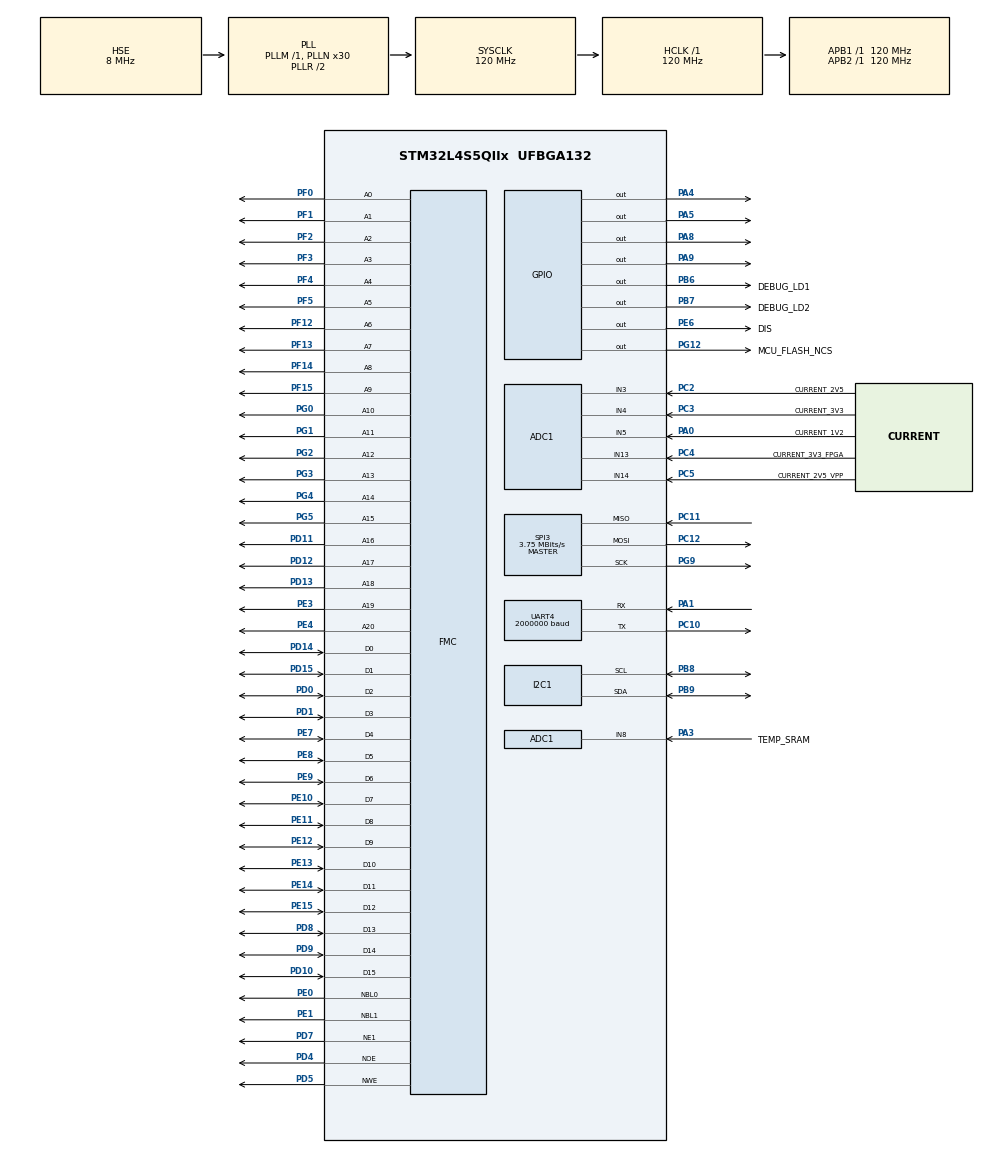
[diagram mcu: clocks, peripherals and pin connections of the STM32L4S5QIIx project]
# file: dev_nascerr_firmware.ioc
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ADC1.Channel-0\#ChannelRegularConversion=ADC_CHANNEL_5
ADC1.Channel-1\#ChannelRegularConversion=ADC_CHANNEL_3
ADC1.Channel-2\#ChannelRegularConversion=ADC_CHANNEL_14
ADC1.Channel-3\#ChannelRegularConversion=ADC_CHANNEL_4
ADC1.Channel-4\#ChannelRegularConversion=ADC_CHANNEL_13
ADC1.Channel-5\#ChannelRegularConversion=ADC_CHANNEL_8
ADC1.DMAContinuousRequests=ENABLE
ADC1.ExternalTrigConv=ADC_EXTERNALTRIG_T2_TRGO
ADC1.NbrOfConversion=6
ADC1.NbrOfConversionFlag=1
ADC1.OffsetNumber-0\#ChannelRegularConversion=ADC_OFFSET_NONE
ADC1.OffsetNumber-1\#ChannelRegularConversion=ADC_OFFSET_NONE
ADC1.OffsetNumber-2\#ChannelRegularConversion=ADC_OFFSET_NONE
ADC1.OffsetNumber-3\#ChannelRegularConversion=ADC_OFFSET_NONE
ADC1.OffsetNumber-4\#ChannelRegularConversion=ADC_OFFSET_NONE
ADC1.OffsetNumber-5\#ChannelRegularConversion=ADC_OFFSET_NONE
ADC1.Rank-0\#ChannelRegularConversion=1
ADC1.Rank-1\#ChannelRegularConversion=2
ADC1.Rank-2\#ChannelRegularConversion=3
ADC1.Rank-3\#ChannelRegularConversion=4
ADC1.Rank-4\#ChannelRegularConversion=5
ADC1.Rank-5\#ChannelRegularConversion=6
ADC1.SamplingTime-0\#ChannelRegularConversion=ADC_SAMPLETIME_47CYCLES_5
ADC1.SamplingTime-1\#ChannelRegularConversion=ADC_SAMPLETIME_47CYCLES_5
ADC1.SamplingTime-2\#ChannelRegularConversion=ADC_SAMPLETIME_47CYCLES_5
ADC1.SamplingTime-3\#ChannelRegularConversion=ADC_SAMPLETIME_47CYCLES_5
ADC1.SamplingTime-4\#ChannelRegularConversion=ADC_SAMPLETIME_47CYCLES_5
ADC1.SamplingTime-5\#ChannelRegularConversion=ADC_SAMPLETIME_47CYCLES_5
ADC1.master=1
Dma.ADC1.2.Direction=DMA_PERIPH_TO_MEMORY
Dma.ADC1.2.EventEnable=DISABLE
Dma.ADC1.2.Instance=DMA1_Channel3
Dma.ADC1.2.MemDataAlignment=DMA_MDATAALIGN_WORD
Dma.ADC1.2.MemInc=DMA_MINC_ENABLE
Dma.ADC1.2.Mode=DMA_CIRCULAR
Dma.ADC1.2.PeriphDataAlignment=DMA_PDATAALIGN_WORD
Dma.ADC1.2.PeriphInc=DMA_PINC_DISABLE
Dma.ADC1.2.Polarity=HAL_DMAMUX_REQUEST_GEN_RISING
Dma.ADC1.2.Priority=DMA_PRIORITY_LOW
Dma.ADC1.2.RequestNumber=1
Dma.ADC1.2.SignalID=NONE
Dma.ADC1.2.SyncEnable=DISABLE
Dma.ADC1.2.SyncPolarity=HAL_DMAMUX_SYNC_NO_EVENT
Dma.ADC1.2.SyncRequestNumber=1
Dma.ADC1.2.SyncSignalID=NONE
Dma.Request0=SPI3_RX
Dma.Request1=SPI3_TX
Dma.Request2=ADC1
Dma.Request3=UART4_RX
Dma.SPI3_RX.0.Direction=DMA_PERIPH_TO_MEMORY
Dma.SPI3_RX.0.EventEnable=DISABLE
Dma.SPI3_RX.0.Instance=DMA1_Channel1
Dma.SPI3_RX.0.MemDataAlignment=DMA_MDATAALIGN_BYTE
Dma.SPI3_RX.0.MemInc=DMA_MINC_ENABLE
Dma.SPI3_RX.0.Mode=DMA_NORMAL
Dma.SPI3_RX.0.PeriphDataAlignment=DMA_PDATAALIGN_BYTE
Dma.SPI3_RX.0.PeriphInc=DMA_PINC_DISABLE
Dma.SPI3_RX.0.Polarity=HAL_DMAMUX_REQUEST_GEN_RISING
Dma.SPI3_RX.0.Priority=DMA_PRIORITY_LOW
Dma.SPI3_RX.0.RequestNumber=1
Dma.SPI3_RX.0.SignalID=NONE
Dma.SPI3_RX.0.SyncEnable=DISABLE
Dma.SPI3_RX.0.SyncPolarity=HAL_DMAMUX_SYNC_NO_EVENT
Dma.SPI3_RX.0.SyncRequestNumber=1
Dma.SPI3_RX.0.SyncSignalID=NONE
Dma.SPI3_TX.1.Direction=DMA_MEMORY_TO_PERIPH
Dma.SPI3_TX.1.EventEnable=DISABLE
Dma.SPI3_TX.1.Instance=DMA1_Channel2
Dma.SPI3_TX.1.MemDataAlignment=DMA_MDATAALIGN_BYTE
Dma.SPI3_TX.1.MemInc=DMA_MINC_ENABLE
Dma.SPI3_TX.1.Mode=DMA_NORMAL
Dma.SPI3_TX.1.PeriphDataAlignment=DMA_PDATAALIGN_BYTE
Dma.SPI3_TX.1.PeriphInc=DMA_PINC_DISABLE
Dma.SPI3_TX.1.Polarity=HAL_DMAMUX_REQUEST_GEN_RISING
Dma.SPI3_TX.1.Priority=DMA_PRIORITY_LOW
Dma.SPI3_TX.1.RequestNumber=1
Dma.SPI3_TX.1.SignalID=NONE
Dma.SPI3_TX.1.SyncEnable=DISABLE
Dma.SPI3_TX.1.SyncPolarity=HAL_DMAMUX_SYNC_NO_EVENT
Dma.SPI3_TX.1.SyncRequestNumber=1
Dma.SPI3_TX.1.SyncSignalID=NONE
Dma.UART4_RX.3.Direction=DMA_PERIPH_TO_MEMORY
Dma.UART4_RX.3.EventEnable=ENABLE
Dma.UART4_RX.3.Instance=DMA1_Channel4
Dma.UART4_RX.3.MemDataAlignment=DMA_MDATAALIGN_BYTE
Dma.UART4_RX.3.MemInc=DMA_MINC_ENABLE
Dma.UART4_RX.3.Mode=DMA_CIRCULAR
Dma.UART4_RX.3.PeriphDataAlignment=DMA_PDATAALIGN_BYTE
Dma.UART4_RX.3.PeriphInc=DMA_PINC_DISABLE
Dma.UART4_RX.3.Polarity=HAL_DMAMUX_REQUEST_GEN_RISING
Dma.UART4_RX.3.Priority=DMA_PRIORITY_LOW
Dma.UART4_RX.3.RequestNumber=1
Dma.UART4_RX.3.SignalID=NONE
Dma.UART4_RX.3.SyncEnable=DISABLE
Dma.UART4_RX.3.SyncPolarity=HAL_DMAMUX_SYNC_NO_EVENT
Dma.UART4_RX.3.SyncRequestNumber=1
Dma.UART4_RX.3.SyncSignalID=NONE
FMC.WriteFifo1=FMC_WRITE_FIFO_DISABLE
FMC.WriteOperation1=FMC_WRITE_OPERATION_ENABLE
FREERTOS.Tasks01=masterCommTask,40,1024,nascerr_masterCommTask,Default,NULL,Dynamic,NULL,NULL
FREERTOS.configENABLE_FPU=1
FREERTOS.configTOTAL_HEAP_SIZE=65536
FREERTOS.configUSE_NEWLIB_REENTRANT=1
HASH.DataType=HASH_DATATYPE_8B
HASH.SecureHashAlgorithmType=SHA256
I2C1.OwnAddress=0x55
I2C1.Timing=0x30A175AB
IWDG.Prescaler=IWDG_PRESCALER_64
IWDG.Reload=500
Mcu.Family=STM32L4
Mcu.Name=STM32L4S5QIIx
Mcu.Package=UFBGA132
NVIC.DMA1_Channel1_IRQn=true\:5\:0\:false\:false\:true\:true\:false\:true\:true
NVIC.DMA1_Channel2_IRQn=true\:5\:0\:false\:false\:true\:true\:false\:true\:true
NVIC.DMA1_Channel3_IRQn=true\:5\:0\:false\:false\:true\:true\:false\:true\:true
NVIC.DMA1_Channel4_IRQn=true\:5\:0\:false\:false\:true\:true\:false\:true\:true
NVIC.DMAMUX1_OVR_IRQn=true\:5\:0\:false\:false\:true\:true\:false\:true\:true
NVIC.I2C1_EV_IRQn=true\:5\:0\:false\:false\:true\:true\:true\:true\:true
NVIC.PriorityGroup=NVIC_PRIORITYGROUP_4
NVIC.SPI3_IRQn=true\:5\:0\:false\:false\:true\:true\:true\:true\:true
NVIC.TIM6_DAC_IRQn=true\:15\:0\:false\:false\:true\:false\:false\:true\:true
NVIC.TimeBase=TIM6_DAC_IRQn
NVIC.TimeBaseIP=TIM6
NVIC.UART4_IRQn=true\:5\:0\:false\:false\:true\:true\:true\:true\:true
PA0.GPIO_Label=CURRENT_1V2
PA0.Signal=ADCx_IN5
PA1.Mode=Asynchronous
PA1.Signal=UART4_RX
PA3.GPIO_Label=TEMP_SRAM
PA3.Signal=ADCx_IN8
PA4.GPIO_PuPd=GPIO_PULLDOWN
PA4.Signal=GPIO_Output
PA5.GPIO_PuPd=GPIO_PULLDOWN
PA5.Signal=GPIO_Output
PA8.GPIO_PuPd=GPIO_PULLDOWN
PA8.Signal=GPIO_Output
PA9.GPIO_PuPd=GPIO_PULLDOWN
PA9.Signal=GPIO_Output
PB6.GPIO_Label=DEBUG_LD1
PB6.Signal=GPIO_Output
PB7.GPIO_Label=DEBUG_LD2
PB7.Signal=GPIO_Output
PB8.Mode=I2C
PB8.Signal=I2C1_SCL
PB9.Mode=I2C
PB9.Signal=I2C1_SDA
PC10.Mode=Asynchronous
PC10.Signal=UART4_TX
PC11.Mode=Full_Duplex_Master
PC11.Signal=SPI3_MISO
PC12.Mode=Full_Duplex_Master
PC12.Signal=SPI3_MOSI
PC2.GPIO_Label=CURRENT_2V5
PC2.Signal=ADCx_IN3
PC3.GPIO_Label=CURRENT_3V3
PC3.Signal=ADCx_IN4
PC4.GPIO_Label=CURRENT_3V3_FPGA
PC4.Signal=ADCx_IN13
PC5.GPIO_Label=CURRENT_2V5_VPP
PC5.Signal=ADCx_IN14
PD0.Signal=FMC_D2_DA2
PD1.Signal=FMC_D3_DA3
PD10.Signal=FMC_D15_DA15
PD11.Signal=FMC_A16_CLE
PD12.Signal=FMC_A17_ALE
PD13.Signal=FMC_A18
PD14.Signal=FMC_D0_DA0
PD15.Signal=FMC_D1_DA1
PD4.Signal=FMC_NOE
PD5.Signal=FMC_NWE
PD7.Mode=NorPsramChipSelect1_1
PD7.Signal=FMC_NE1
PD8.Signal=FMC_D13_DA13
PD9.Signal=FMC_D14_DA14
PE0.Signal=FMC_NBL0
PE1.Signal=FMC_NBL1
PE10.Signal=FMC_D7_DA7
PE11.Signal=FMC_D8_DA8
PE12.Signal=FMC_D9_DA9
PE13.Signal=FMC_D10_DA10
PE14.Signal=FMC_D11_DA11
PE15.Signal=FMC_D12_DA12
PE3.Signal=FMC_A19
PE4.Signal=FMC_A20
PE6.GPIO_Label=DIS
PE6.GPIO_Speed=GPIO_SPEED_FREQ_LOW
PE6.PinState=GPIO_PIN_SET
PE6.Signal=GPIO_Output
PE7.Signal=FMC_D4_DA4
PE8.Signal=FMC_D5_DA5
PE9.Signal=FMC_D6_DA6
PF0.Signal=FMC_A0
PF1.Signal=FMC_A1
PF12.Signal=FMC_A6
PF13.Signal=FMC_A7
PF14.Signal=FMC_A8
PF15.Signal=FMC_A9
PF2.Signal=FMC_A2
PF3.Signal=FMC_A3
PF4.Signal=FMC_A4
PF5.Signal=FMC_A5
PG0.Signal=FMC_A10
PG1.Signal=FMC_A11
PG12.GPIO_Label=MCU_FLASH_NCS
PG12.GPIO_Speed=GPIO_SPEED_FREQ_HIGH
PG12.PinState=GPIO_PIN_SET
PG12.Signal=GPIO_Output
PG2.Signal=FMC_A12
PG3.Signal=FMC_A13
PG4.Signal=FMC_A14
PG5.Signal=FMC_A15
PG9.Mode=Full_Duplex_Master
PG9.Signal=SPI3_SCK
PH0-OSC_IN\ (PH0).Mode=HSE-External-Oscillator
PH0-OSC_IN\ (PH0).Signal=RCC_OSC_IN
PH1-OSC_OUT\ (PH1).Mode=HSE-External-Oscillator
PH1-OSC_OUT\ (PH1).Signal=RCC_OSC_OUT
ProjectManager.HeapSize=0x200
ProjectManager.StackSize=0x400
ProjectManager.TargetToolchain=STM32CubeIDE
RCC.ADCFreq_Value=32000000
RCC.AHBFreq_Value=120000000
RCC.APB1Freq_Value=120000000
RCC.APB1TimFreq_Value=120000000
RCC.APB2Freq_Value=120000000
RCC.APB2TimFreq_Value=120000000
RCC.CortexFreq_Value=120000000
RCC.HCLKFreq_Value=120000000
RCC.HSE_VALUE=8000000
RCC.HSI48_VALUE=48000000
RCC.HSI_VALUE=16000000
RCC.LSE_VALUE=32768
RCC.MSI_VALUE=4000000
RCC.PLLN=30
RCC.PLLSourceVirtual=RCC_PLLSOURCE_HSE
RCC.SYSCLKFreq_VALUE=120000000
RCC.SYSCLKSource=RCC_SYSCLKSOURCE_PLLCLK
RCC.USBFreq_Value=32000000
RCC.VCOOutputFreq_Value=240000000
SH.ADCx_IN13.0=ADC1_IN13,IN13-Single-Ended
SH.ADCx_IN14.0=ADC1_IN14,IN14-Single-Ended
SH.ADCx_IN3.0=ADC1_IN3,IN3-Single-Ended
SH.ADCx_IN4.0=ADC1_IN4,IN4-Single-Ended
SH.ADCx_IN5.0=ADC1_IN5,IN5-Single-Ended
SH.ADCx_IN8.0=ADC1_IN8,IN8-Single-Ended
SH.FMC_A0.0=FMC_A0,21b-a1
SH.FMC_A1.0=FMC_A1,21b-a1
SH.FMC_A10.0=FMC_A10,21b-a1
SH.FMC_A11.0=FMC_A11,21b-a1
SH.FMC_A12.0=FMC_A12,21b-a1
SH.FMC_A13.0=FMC_A13,21b-a1
SH.FMC_A14.0=FMC_A14,21b-a1
SH.FMC_A15.0=FMC_A15,21b-a1
SH.FMC_A16_CLE.0=FMC_A16,21b-a1
SH.FMC_A17_ALE.0=FMC_A17,21b-a1
SH.FMC_A18.0=FMC_A18,21b-a1
SH.FMC_A19.0=FMC_A19,21b-a1
SH.FMC_A2.0=FMC_A2,21b-a1
SH.FMC_A20.0=FMC_A20,21b-a1
SH.FMC_A3.0=FMC_A3,21b-a1
SH.FMC_A4.0=FMC_A4,21b-a1
SH.FMC_A5.0=FMC_A5,21b-a1
SH.FMC_A6.0=FMC_A6,21b-a1
SH.FMC_A7.0=FMC_A7,21b-a1
SH.FMC_A8.0=FMC_A8,21b-a1
SH.FMC_A9.0=FMC_A9,21b-a1
SH.FMC_D0_DA0.0=FMC_D0,16b-d1
SH.FMC_D10_DA10.0=FMC_D10,16b-d1
SH.FMC_D11_DA11.0=FMC_D11,16b-d1
SH.FMC_D12_DA12.0=FMC_D12,16b-d1
SH.FMC_D13_DA13.0=FMC_D13,16b-d1
SH.FMC_D14_DA14.0=FMC_D14,16b-d1
SH.FMC_D15_DA15.0=FMC_D15,16b-d1
SH.FMC_D1_DA1.0=FMC_D1,16b-d1
SH.FMC_D2_DA2.0=FMC_D2,16b-d1
SH.FMC_D3_DA3.0=FMC_D3,16b-d1
SH.FMC_D4_DA4.0=FMC_D4,16b-d1
SH.FMC_D5_DA5.0=FMC_D5,16b-d1
SH.FMC_D6_DA6.0=FMC_D6,16b-d1
SH.FMC_D7_DA7.0=FMC_D7,16b-d1
SH.FMC_D8_DA8.0=FMC_D8,16b-d1
SH.FMC_D9_DA9.0=FMC_D9,16b-d1
SH.FMC_NBL0.0=FMC_NBL0,2ByteEnable1
SH.FMC_NBL1.0=FMC_NBL1,2ByteEnable1
SH.FMC_NOE.0=FMC_NOE,Sram1
SH.FMC_NWE.0=FMC_NWE,Sram1
SPI3.BaudRatePrescaler=SPI_BAUDRATEPRESCALER_32
SPI3.CalculateBaudRate=3.75 MBits/s
SPI3.DataSize=SPI_DATASIZE_8BIT
SPI3.Direction=SPI_DIRECTION_2LINES
SPI3.Mode=SPI_MODE_MASTER
SPI3.VirtualType=VM_MASTER
TIM2.Period=120000-1
TIM2.Prescaler=0
TIM2.TIM_MasterOutputTrigger=TIM_TRGO_UPDATE
UART4.BaudRate=2000000
VP_FREERTOS_VS_CMSIS_V2.Mode=CMSIS_V2
VP_HASH_VS_HASH.Mode=HASH_Activate
VP_IWDG_VS_IWDG.Mode=IWDG_Activate
VP_SYS_VS_tim6.Mode=TIM6
VP_TIM15_VS_ClockSourceINT.Mode=Internal
VP_TIM2_VS_ClockSourceINT.Mode=Internal
board=custom

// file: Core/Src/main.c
/* USER CODE BEGIN Header */
/**
  ******************************************************************************
  * @file           : main.c
  * @brief          : Main program body
  ******************************************************************************
  * @attention
  *
  * Copyright (c) 2024 STMicroelectronics.
  * All rights reserved.
  *
  * This software is licensed under terms that can be found in the LICENSE file
  * in the root directory of this software component.
  * If no LICENSE file comes with this software, it is provided AS-IS.
  *
  ******************************************************************************
  */
/* USER CODE END Header */
#include "main.h"
#include "cmsis_os.h"
#include "adc.h"
#include "dma.h"
#include "hash.h"
#include "i2c.h"
#include "spi.h"
#include "tim.h"
#include "usart.h"
#include "gpio.h"
#include "fmc.h"

/* USER CODE BEGIN Includes */
#include "iwdg.h"
#include "i2c_slave.h"
#include "NASCERR_DB.h"
#include "NASCERR_SchedulerDB.h"
#include "NASCERR_Experiment.h"
#include "NASCERR_InternalFlash.h"
#include "NASCERR_Bootloader.h"
#include "NASCERR_Memory_32bits.h"
/* USER CODE END Includes */

/* USER CODE BEGIN PD */
/* Enum to define log levels */

/* USER CODE END PD */

/* USER CODE BEGIN PV */
#if SOFTWARE_DEBUG
volatile uint32_t g_i2c_last_kick_ms = 0;
volatile uint8_t  g_i2c_timeout_flag = 0;
extern uint32_t systimer_counter;
#endif
/* USER CODE END PV */

void SystemClock_Config(void);
void MX_FREERTOS_Init(void);

int main(void)
{

  /* MCU Configuration--------------------------------------------------------*/

  /* Reset of all peripherals, Initializes the Flash interface and the Systick. */
	HAL_Init();

  /* Configure the system clock */
  SystemClock_Config();

  /* Initialize all configured peripherals */
  MX_GPIO_Init();
  MX_DMA_Init();
  MX_UART4_Init();
  MX_I2C1_Init();
  MX_FMC_Init();
  MX_SPI3_Init();
  MX_ADC1_Init();
  MX_TIM2_Init();
  MX_HASH_Init();
  MX_TIM15_Init();
  /* USER CODE BEGIN 2 */
#if !SOFTWARE_DEBUG
  MX_IWDG_Init();
#endif
  DEBUG_PRINT(LOG_INFO, "APLICACAO DO NASCERR INICIADA \r\n");

  NASCERR_HWStart(hadc1, htim2);
  i2c_slave_init();

  /* NASCER INIT DB */
  nascerr_db_init();
  nascerr_db_clearSchedulerArea();
  nascerr_db_clearExperimentArea();
  nascerr_db_clearLogArea();

  nascerr_bootloader_initMetadata();
  nascerr_flash_init_log_buffer();

  check_reset_source();

  /* USER CODE END 2 */

  /* Init scheduler */
  osKernelInitialize();

  /* Call init function for freertos objects (in cmsis_os2.c) */
  MX_FREERTOS_Init();

  /* Start scheduler */
  osKernelStart();

  /* We should never get here as control is now taken by the scheduler */

  /* Infinite loop */
  while (1)
  {

  }
}

void SystemClock_Config(void)
{
  RCC_OscInitTypeDef RCC_OscInitStruct = {0};
  RCC_ClkInitTypeDef RCC_ClkInitStruct = {0};

  /** Configure the main internal regulator output voltage
  */
  if (HAL_PWREx_ControlVoltageScaling(PWR_REGULATOR_VOLTAGE_SCALE1_BOOST) != HAL_OK)
  {
    Error_Handler();
  }

  /** Initializes the RCC Oscillators according to the specified parameters
  * in the RCC_OscInitTypeDef structure.
  */
  RCC_OscInitStruct.OscillatorType = RCC_OSCILLATORTYPE_LSI|RCC_OSCILLATORTYPE_HSE;
  RCC_OscInitStruct.HSEState = RCC_HSE_ON;
  RCC_OscInitStruct.LSIState = RCC_LSI_ON;
  RCC_OscInitStruct.PLL.PLLState = RCC_PLL_ON;
  RCC_OscInitStruct.PLL.PLLSource = RCC_PLLSOURCE_HSE;
  RCC_OscInitStruct.PLL.PLLM = 1;
  RCC_OscInitStruct.PLL.PLLN = 30;
  RCC_OscInitStruct.PLL.PLLP = RCC_PLLP_DIV2;
  RCC_OscInitStruct.PLL.PLLQ = RCC_PLLQ_DIV2;
  RCC_OscInitStruct.PLL.PLLR = RCC_PLLR_DIV2;
  if (HAL_RCC_OscConfig(&RCC_OscInitStruct) != HAL_OK)
  {
    Error_Handler();
  }

  /** Initializes the CPU, AHB and APB buses clocks
  */
  RCC_ClkInitStruct.ClockType = RCC_CLOCKTYPE_HCLK|RCC_CLOCKTYPE_SYSCLK
                              |RCC_CLOCKTYPE_PCLK1|RCC_CLOCKTYPE_PCLK2;
  RCC_ClkInitStruct.SYSCLKSource = RCC_SYSCLKSOURCE_PLLCLK;
  RCC_ClkInitStruct.AHBCLKDivider = RCC_SYSCLK_DIV1;
  RCC_ClkInitStruct.APB1CLKDivider = RCC_HCLK_DIV1;
  RCC_ClkInitStruct.APB2CLKDivider = RCC_HCLK_DIV1;

  if (HAL_RCC_ClockConfig(&RCC_ClkInitStruct, FLASH_LATENCY_5) != HAL_OK)
  {
    Error_Handler();
  }
}

void HAL_TIM_PeriodElapsedCallback(TIM_HandleTypeDef *htim)
{
  if (htim->Instance == TIM6)
  {
    HAL_IncTick();
  }
  /* USER CODE BEGIN Callback 1 */
  if (htim->Instance == TIM6)
  {
    nascerr_systimer_refresh();
  }
#if SOFTWARE_DEBUG
	if ((uint32_t)(systimer_counter - g_i2c_last_kick_ms) > 1000u)
	{
		g_i2c_timeout_flag = 1;
	}
#endif
  /* USER CODE END Callback 1 */
}

void Error_Handler(void)
{
  __disable_irq();
  while (1)
  {
  }
}

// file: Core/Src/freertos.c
/* USER CODE BEGIN Header */
/**
  ******************************************************************************
  * File Name          : freertos.c
  * Description        : Code for freertos applications
  ******************************************************************************
  * @attention
  *
  * Copyright (c) 2024 STMicroelectronics.
  * All rights reserved.
  *
  * This software is licensed under terms that can be found in the LICENSE file
  * in the root directory of this software component.
  * If no LICENSE file comes with this software, it is provided AS-IS.
  *
  ******************************************************************************
  */
/* USER CODE END Header */

#include "FreeRTOS.h"
#include "task.h"
#include "main.h"
#include "cmsis_os.h"

/* USER CODE BEGIN Includes */
#include "NASCERR_Scheduler.h"
/* USER CODE END Includes */

/* Definitions for masterCommTask */
osThreadId_t masterCommTaskHandle;
const osThreadAttr_t masterCommTask_attributes = {
  .name = "masterCommTask",
  .stack_size = 1024 * 4,
  .priority = (osPriority_t) osPriorityHigh,
};

void nascerr_masterCommTask(void *argument);

void MX_FREERTOS_Init(void); /* (MISRA C 2004 rule 8.1) */

void MX_FREERTOS_Init(void) {

  /* Create the thread(s) */
  /* creation of masterCommTask */
  masterCommTaskHandle = osThreadNew(nascerr_masterCommTask, NULL, &masterCommTask_attributes);

}

void nascerr_masterCommTask(void *argument)
{
  /* USER CODE BEGIN nascerr_masterCommTask */
	nascerr_sch_initScheduler();
  /* Infinite loop */
  for(;;)
  {
	nascerr_sch_masterCommTask();
    osDelay(1);
  }
  /* USER CODE END nascerr_masterCommTask */
}
